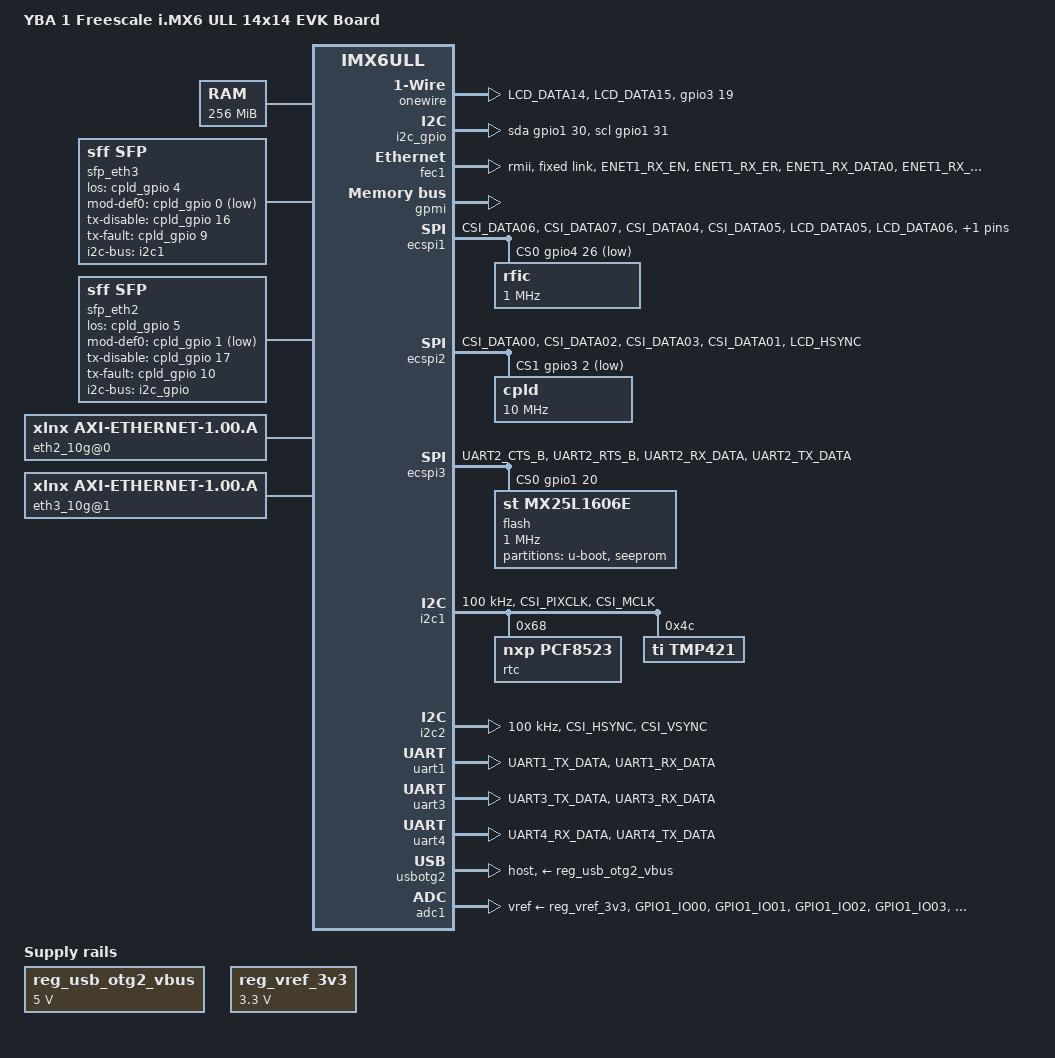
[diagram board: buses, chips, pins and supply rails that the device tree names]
/*
 * Copyright (C) 2016 Freescale Semiconductor, Inc.
 *
 * This program is free software; you can redistribute it and/or modify
 * it under the terms of the GNU General Public License version 2 as
 * published by the Free Software Foundation.
 * Edward K.
 * 14.11.2017:		The file adapted to Siklu PCB-19x HW boards   ( siklu )
 *
 */

/dts-v1/;

#include <dt-bindings/input/input.h>
#include "imx6ull.dtsi"

/ {
	model = "YBA 1 Freescale i.MX6 ULL 14x14 EVK Board";
	compatible = "fsl,imx6ull-14x14-evk", "fsl,imx6ull";

	chosen {
		stdout-path = &uart1;
	};

	memory {
		// reg = <0x80000000 0x20000000>;
		reg = <
			  0x80000000 0x10000000
		>;
	};

	/* bits 0-7 for reg 0x7, bits 8-15 for reg 0xf, bits 16-23 for reg 0x14 */
	sfp_eth3: sfp-eth3 {
		compatible = "sff,sfp";
		i2c-bus = <&i2c1>;
		los-gpios = <&cpld_gpio 4 GPIO_ACTIVE_HIGH>;
		mod-def0-gpios = <&cpld_gpio 0 GPIO_ACTIVE_LOW>;
		tx-disable-gpios = <&cpld_gpio 16 GPIO_ACTIVE_HIGH>;
		tx-fault-gpios = <&cpld_gpio 9 GPIO_ACTIVE_HIGH>;
		maximum-power-milliwatt = <3000>;
 	};

	sfp_eth2: sfp-eth2 {
		compatible = "sff,sfp";
		i2c-bus = <&i2c_gpio>;
		los-gpios = <&cpld_gpio 5 GPIO_ACTIVE_HIGH>;
		mod-def0-gpios = <&cpld_gpio 1 GPIO_ACTIVE_LOW>;
		tx-disable-gpios = <&cpld_gpio 17 GPIO_ACTIVE_HIGH>;
		tx-fault-gpios = <&cpld_gpio 10 GPIO_ACTIVE_HIGH>;
		maximum-power-milliwatt = <3000>;
 	};

	reserved-memory {
		#address-cells = <1>;
		#size-cells = <1>;
		ranges;

		linux,cma {
			compatible = "shared-dma-pool";
			reusable;
			size = <0x14000000>;
			linux,cma-default;
		};
	};

	pxp_v4l2 {
		compatible = "fsl,imx6ul-pxp-v4l2", "fsl,imx6sx-pxp-v4l2", "fsl,imx6sl-pxp-v4l2";
		status = "okay";
	};

	regulators {
		compatible = "simple-bus";
		#address-cells = <1>;
		#size-cells = <0>;

		reg_usb_otg2_vbus: regulator@3 {
			compatible = "regulator-fixed";
			reg = <3>;
			regulator-name = "usb_otg2_vbus";
			regulator-min-microvolt = <5000000>;
			regulator-max-microvolt = <5000000>;
			/* gpio = <&gpio1 2 GPIO_ACTIVE_HIGH>; */
			enable-active-high;
		};
		reg_vref_3v3: regulator@1 {
			compatible = "regulator-fixed";
			regulator-name = "vref-3v3";
			regulator-min-microvolt = <3300000>;
			regulator-max-microvolt = <3300000>;
		};
	};

	onewire {
		compatible = "w1-gpio";
		pinctrl-names = "default";
		linux,open-drain;
		pinctrl-0 = <&pinctrl_w1_0>;
		gpios = <&gpio3 19 0>;
		status = "okay";
	};


	i2c_gpio:i2c-gpio {
		compatible = "i2c-gpio";
		sda-gpios = <&gpio1 30 (GPIO_ACTIVE_HIGH|GPIO_OPEN_DRAIN)>;
		scl-gpios = <&gpio1 31 (GPIO_ACTIVE_HIGH|GPIO_OPEN_DRAIN)>;
		i2c-gpio,delay-us = <2>;	/* ~100 kHz */
	};


	/* We use two Xilinx AXI ethernet driver to simulate 2 MAC's so we could approche the two sfp ports eth2 & eth3 */
	eth2_10g@0 {
		compatible = "xlnx,axi-ethernet-1.00.a";
		phy-mode = "10gbase-r";
		sfp = <&sfp_eth2>;
		status = "okay";
	};

	eth3_10g@1 {
		compatible = "xlnx,axi-ethernet-1.00.a";
		phy-mode = "10gbase-r";
		sfp = <&sfp_eth3>;
		status = "okay";
	};

};


&cpu0 {
	/* dc-supply = <&reg_gpio_dvfs>; */
};

&clks {
	assigned-clocks = <&clks IMX6UL_CLK_PLL4_AUDIO_DIV>;
	assigned-clock-rates = <786432000>;
};


&fec1 {
	pinctrl-names = "default";
	pinctrl-0 = <&pinctrl_enet1>;
	phy-mode = "rmii";

	status = "okay";
	fixed-link {
		speed = <100>;
		full-duplex;
	};
};

&gpc {
	fsl,cpu_pupscr_sw2iso = <0x1>;
	fsl,cpu_pupscr_sw = <0x0>;
	fsl,cpu_pdnscr_iso2sw = <0x1>;
	fsl,cpu_pdnscr_iso = <0x1>;
	fsl,ldo-bypass = <0>; /* DCDC, ldo-enable */
};


&gpmi {
	status = "okay";
};



&ecspi1 { /* siklu RFIC70 and RFIC80 */
		status = "okay";
		fsl,spi-num-chipselects = <4>;
		cs-gpios = <&gpio4 26 GPIO_ACTIVE_LOW
		&gpio3 10 GPIO_ACTIVE_LOW
		&gpio3 11 GPIO_ACTIVE_LOW
		&gpio3 12 GPIO_ACTIVE_LOW
		>;
		pinctrl-names = "default";
		pinctrl-0 = <&pinctrl_ecspi1_1 &pinctrl_ecspi1_cs_1>;
		rfic: skl_rfic@0 {
			compatible = "rfic";
			spi-max-frequency = <1000000>;
			spi-cs-low;
			reg = <0>;
			mode = <0>;
		};
};


&ecspi2 {	/*   siklu CPLD */
	status = "okay";
	fsl,spi-num-chipselects = <2>;
	cs-gpios = <
		&gpio4 22 GPIO_ACTIVE_LOW
		&gpio3 2 GPIO_ACTIVE_LOW
	>;
	pinctrl-names = "default";
	pinctrl-0 = <
		&pinctrl_ecspi2
		&pinctrl_ecspi2_cs_1
	>;

	cpld: skl_cpld@1 {
		compatible = "cpld";
		reg = <1>;
		spi-max-frequency = <10000000>;
		spi-cs-low;
		mode = <0>;
		/*#address-cells = <1>;
		#size-cells = <1>;*/

		cpld_gpio:cpld-gpio@1 {
			compatible = "siklu,eh8010-cpld-gpio";
			/*reg = <1 1>;*/
			#gpio-cells = <2>;
			gpio-controller;
		};
	};
};


&ecspi3 {   /* siklu SPI-NOR */
	status = "okay";
	spi-max-frequency = <1000000>;
	fsl,spi-num-chipselects = <1>;
	pinctrl-names = "default";
	cs-gpios = <&gpio1 20 0>;
	pinctrl-0 = <&pinctrl_ecspi3_1 &pinctrl_ecspi3_cs_1>;
	flash: m25p80@0 {
			compatible = "st,mx25l1606e", "spi-flash";
			reg = <0>;
			spi-max-frequency = <1000000>;
			mode = <0>;
			#address-cells = <1>;
			#size-cells = <1>;

			partition@0 {
				reg = <0x0 0x200000>;
				label = "u-boot";
				read-only;
			};
			partition@1F0000 {
				reg = <0x1F0000 0x10000>;
				label = "seeprom";
			};
		};
};


&i2c1 {
	clock-frequency = <100000>;
	pinctrl-names = "default";
	pinctrl-0 = <&pinctrl_i2c1>;
	status = "okay";

	rtc: pcf8523@68 {
		compatible = "nxp,pcf8523";
		reg = <0x68>;
	};
	tmp421@4c {
		compatible = "ti,tmp421";
		reg = <0x4c>;
	};
};


&i2c2 {
	clock-frequency = <100000>;
	pinctrl-names = "default";
	pinctrl-0 = <&pinctrl_i2c2>;
	status = "okay";
};


&iomuxc {
	pinctrl-names = "default";

	/* for dsa switch in fec1 above */
	pinctrl_switch: switchgrp {
		fsl,pins = <
/*
			MX6UL_PAD_GPIO1_IO07__ENET2_MDC         0x1b0b0
			MX6UL_PAD_GPIO1_IO06__ENET2_MDIO        0x1b0b0
*/
			MX6UL_PAD_GPIO1_IO07__ENET1_MDC         0x1b0b0
			MX6UL_PAD_GPIO1_IO06__ENET1_MDIO        0x1b0b0
		>;
	};

	pinctrl_enet1: enet1grp {
		fsl,pins = <
			MX6UL_PAD_ENET1_RX_EN__ENET1_RX_EN	0x1b0b0
			MX6UL_PAD_ENET1_RX_ER__ENET1_RX_ER	0x1b0b0
			MX6UL_PAD_ENET1_RX_DATA0__ENET1_RDATA00	0x1b0b0
			MX6UL_PAD_ENET1_RX_DATA1__ENET1_RDATA01	0x1b0b0
			MX6UL_PAD_ENET1_TX_EN__ENET1_TX_EN	0x1b0b0
			MX6UL_PAD_ENET1_TX_DATA0__ENET1_TDATA00	0x1b0b0
			MX6UL_PAD_ENET1_TX_DATA1__ENET1_TDATA01	0x1b0b0
			MX6UL_PAD_ENET1_TX_CLK__ENET1_REF_CLK1	0x4001b031
		>;
	};

	pinctrl_i2c1: i2c1grp {
		fsl,pins = <
			MX6UL_PAD_CSI_PIXCLK__I2C1_SCL  0x4001b8b0
			MX6UL_PAD_CSI_MCLK__I2C1_SDA  0x4001b8b0
		>;
	};


	pinctrl_gpmi_nand_1: gpmi-nand-1 {
		fsl,pins = <
			MX6UL_PAD_NAND_RE_B__RAWNAND_RE_B       0x10b0
			MX6UL_PAD_NAND_WE_B__RAWNAND_WE_B       0x10b0
			MX6UL_PAD_NAND_DATA00__RAWNAND_DATA00   0x10b0
			MX6UL_PAD_NAND_DATA01__RAWNAND_DATA01   0x10b0
			MX6UL_PAD_NAND_DATA02__RAWNAND_DATA02   0x10b0
			MX6UL_PAD_NAND_DATA03__RAWNAND_DATA03   0x10b0
			MX6UL_PAD_NAND_DATA04__RAWNAND_DATA04   0x10b0
			MX6UL_PAD_NAND_DATA05__RAWNAND_DATA05   0x10b0
			MX6UL_PAD_NAND_DATA06__RAWNAND_DATA06   0x10b0
			MX6UL_PAD_NAND_DATA07__RAWNAND_DATA07   0x10b0
			MX6UL_PAD_NAND_ALE__RAWNAND_ALE         0x10b0
			MX6UL_PAD_NAND_WP_B__RAWNAND_WP_B       0x10b0
			MX6UL_PAD_NAND_READY_B__RAWNAND_READY_B 0x10b0
			MX6UL_PAD_NAND_CE0_B__RAWNAND_CE0_B     0x10b0
			MX6UL_PAD_NAND_CE1_B__RAWNAND_CE1_B     0x10b0
			MX6UL_PAD_NAND_CLE__RAWNAND_CLE         0x10b0
			MX6UL_PAD_NAND_DQS__RAWNAND_DQS         0x10b0
		>;
	};

	pinctrl_i2c2: i2c2grp {
		fsl,pins = <
			MX6UL_PAD_CSI_HSYNC__I2C2_SCL  0x4001b8b0
			MX6UL_PAD_CSI_VSYNC__I2C2_SDA  0x4001b8b0
		>;
	};

	pinctrl_ecspi2: ecspi2grp {
		fsl,pins = <
			MX6UL_PAD_CSI_DATA00__ECSPI2_SCLK	0x10b0
			MX6UL_PAD_CSI_DATA02__ECSPI2_MOSI	0x10b0
			MX6UL_PAD_CSI_DATA03__ECSPI2_MISO	0x10b0
		>;
	};

	pinctrl_ecspi2_cs_1: ecspi2_cs_grp-1 {
		fsl,pins = <
			MX6UL_PAD_CSI_DATA01__GPIO4_IO22	0x10b0 /* SS0# */
			MX6UL_PAD_LCD_HSYNC__GPIO3_IO02		0x10b0 /* SS1# */
		>;
	};

	pinctrl_ecspi1_cs_1: ecspi1_cs_grp-1 {
		fsl,pins = <
			MX6UL_PAD_CSI_DATA05__GPIO4_IO26  0x10b0 /* SS0# */
			MX6UL_PAD_LCD_DATA05__GPIO3_IO10  0x10b0 /* SS1# */
			MX6UL_PAD_LCD_DATA06__GPIO3_IO11  0x10b0 /* SS2# */
			MX6UL_PAD_LCD_DATA07__GPIO3_IO12  0x10b0 /* SS3# */
		>;
	};
	pinctrl_ecspi1_1: ecspi1grp-1 {
		fsl,pins = <
			MX6UL_PAD_CSI_DATA06__ECSPI1_MOSI 0x10b0
			MX6UL_PAD_CSI_DATA07__ECSPI1_MISO 0x10b0
			MX6UL_PAD_CSI_DATA04__ECSPI1_SCLK 0x10b0
		>;
	};

	pinctrl_ecspi3_cs_1: ecspi3_cs_grp-1 {
		fsl,pins = <
			/* IOMUXC_SW_MUX_CTL_PAD_UART2_TX_DATA pad */
			MX6UL_PAD_UART2_TX_DATA__GPIO1_IO20  0x10b0

		>;
	};
	pinctrl_ecspi3_1: ecspi3grp-1 {
		fsl,pins = <
			MX6UL_PAD_UART2_CTS_B__ECSPI3_MOSI 0x10b0
			MX6UL_PAD_UART2_RTS_B__ECSPI3_MISO 0x10b0
			MX6UL_PAD_UART2_RX_DATA__ECSPI3_SCLK 0x10b0
		>;
	};

	pinctrl_tsc: tscgrp {
		fsl,pins = <
			MX6UL_PAD_GPIO1_IO01__GPIO1_IO01	0xb0
			MX6UL_PAD_GPIO1_IO02__GPIO1_IO02	0xb0
			MX6UL_PAD_GPIO1_IO03__GPIO1_IO03	0xb0
			MX6UL_PAD_GPIO1_IO04__GPIO1_IO04	0xb0
		>;
	};

	pinctrl_uart1: uart1grp {
		fsl,pins = <
			MX6UL_PAD_UART1_TX_DATA__UART1_DCE_TX 0x1b0b1
			MX6UL_PAD_UART1_RX_DATA__UART1_DCE_RX 0x1b0b1
		>;
	};

	pinctrl_uart2dte: uart2dtegrp {
		fsl,pins = <
			MX6UL_PAD_UART2_TX_DATA__UART2_DTE_RX	0x1b0b1
			MX6UL_PAD_UART2_RX_DATA__UART2_DTE_TX	0x1b0b1
			MX6UL_PAD_UART3_RX_DATA__UART2_DTE_CTS	0x1b0b1
			MX6UL_PAD_UART3_TX_DATA__UART2_DTE_RTS	0x1b0b1
		>;
	};

	pinctrl_uart3: uart3grp {
		fsl,pins = <
			MX6UL_PAD_UART3_TX_DATA__UART3_DCE_TX 0x1b0b1
			MX6UL_PAD_UART3_RX_DATA__UART3_DCE_RX 0x1b0b1
		>;
	};

	pinctrl_uart4: uart4grp {
		fsl,pins = <
			MX6UL_PAD_UART4_RX_DATA__UART4_DCE_RX 0x1b0b1
			MX6UL_PAD_UART4_TX_DATA__UART4_DCE_TX 0x1b0b1
		>;
	};


	pinctrl_usb_otg1_id: usbotg1idgrp {
		fsl,pins = <
			MX6UL_PAD_GPIO1_IO00__ANATOP_OTG1_ID	0x17059
		>;
	};

	pinctrl_adc1: adc1grp {
		fsl,pins = <
			MX6UL_PAD_GPIO1_IO00__GPIO1_IO00        0xb0
			MX6UL_PAD_GPIO1_IO01__GPIO1_IO01        0xb0
			MX6UL_PAD_GPIO1_IO02__GPIO1_IO02        0xb0
			MX6UL_PAD_GPIO1_IO03__GPIO1_IO03        0xb0
			MX6UL_PAD_GPIO1_IO04__GPIO1_IO04        0xb0
			MX6UL_PAD_GPIO1_IO05__GPIO1_IO05        0xb0
			/* jump over GPIO1_IO06 and GPIO1_IO07       */
			MX6UL_PAD_GPIO1_IO08__GPIO1_IO08        0xb0
			MX6UL_PAD_GPIO1_IO09__GPIO1_IO09        0xb0
		>;
	};
	pinctrl_w1_0:  w1_0grp { /* used for access 1-wire EEPROM */
		fsl,pins = <
			MX6UL_PAD_LCD_DATA14__GPIO3_IO19        0xb0
			MX6UL_PAD_LCD_DATA15__GPIO3_IO20        0xb0
		>;
	};

};

&uart1 { /* serial debug interface */
	pinctrl-names = "default";
	pinctrl-0 = <&pinctrl_uart1>;
	status = "okay";
};

&uart3 {  /* broadcom modem */
	pinctrl-names = "default";
	pinctrl-0 = <&pinctrl_uart3>;
	status = "okay";
};

&uart4 { /* k60b interface */
	pinctrl-names = "default";
	pinctrl-0 = <&pinctrl_uart4>;
	status = "okay";
};



&usbphy2 {
	tx-d-cal = <0x5>;
};


&usbotg2 {
	/*

	disable-over-current;
	tpl-support;
	pinctrl-names = "default";
	dr_mode = "otg";
	srp-disable;
	hnp-disable;
	adp-disable;
	*/
	pinctrl-names = "default";
	vbus-supply = <&reg_usb_otg2_vbus>;
	dr_mode = "host";
	disable-over-current;
	status = "okay";
};

&tsc {
	status = "disabled";
};

&adc1 {
	pinctrl-names = "default";
	pinctrl-0 = <&pinctrl_adc1>;
	vref-supply = <&reg_vref_3v3>;
	num-channels = <8>;  /* override default value in arch/arm/boot/dts/imx6ull.dtsi */
	status = "okay";
};

